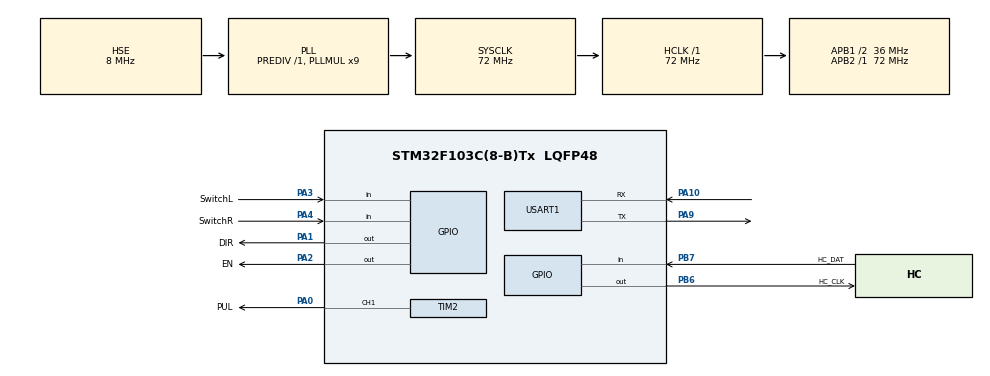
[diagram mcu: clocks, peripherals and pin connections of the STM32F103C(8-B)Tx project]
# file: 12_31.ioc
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Mcu.Family=STM32F1
Mcu.Name=STM32F103C(8-B)Tx
Mcu.Package=LQFP48
NVIC.PriorityGroup=NVIC_PRIORITYGROUP_4
NVIC.TIM2_IRQn=true\:0\:0\:false\:false\:true\:true\:true
NVIC.USART1_IRQn=true\:0\:0\:false\:false\:true\:true\:true
PA0-WKUP.GPIO_Label=PUL
PA0-WKUP.GPIO_ModeDefaultPP=GPIO_MODE_AF_PP
PA0-WKUP.GPIO_Speed=GPIO_SPEED_FREQ_MEDIUM
PA0-WKUP.Signal=S_TIM2_CH1_ETR
PA1.GPIO_Label=DIR
PA1.GPIO_ModeDefaultOutputPP=GPIO_MODE_OUTPUT_PP
PA1.Signal=GPIO_Output
PA10.Mode=Asynchronous
PA10.Signal=USART1_RX
PA2.GPIO_Label=EN
PA2.GPIO_ModeDefaultOutputPP=GPIO_MODE_OUTPUT_PP
PA2.Signal=GPIO_Output
PA3.GPIO_Label=SwitchL
PA3.GPIO_PuPd=GPIO_PULLUP
PA3.Signal=GPIO_Input
PA4.GPIO_Label=SwitchR
PA4.GPIO_PuPd=GPIO_PULLUP
PA4.Signal=GPIO_Input
PA9.Mode=Asynchronous
PA9.Signal=USART1_TX
PB6.GPIO_Label=HC_CLK
PB6.Signal=GPIO_Output
PB7.GPIO_Label=HC_DAT
PB7.Signal=GPIO_Input
PD0-OSC_IN.Mode=HSE-External-Oscillator
PD0-OSC_IN.Signal=RCC_OSC_IN
PD1-OSC_OUT.Mode=HSE-External-Oscillator
PD1-OSC_OUT.Signal=RCC_OSC_OUT
ProjectManager.HeapSize=0x200
ProjectManager.StackSize=0x400
ProjectManager.TargetToolchain=MDK-ARM V5
RCC.AHBFreq_Value=72000000
RCC.APB1CLKDivider=RCC_HCLK_DIV2
RCC.APB1Freq_Value=36000000
RCC.APB1TimFreq_Value=72000000
RCC.APB2Freq_Value=72000000
RCC.APB2TimFreq_Value=72000000
RCC.HCLKFreq_Value=72000000
RCC.PLLMUL=RCC_PLL_MUL9
RCC.PLLSourceVirtual=RCC_PLLSOURCE_HSE
RCC.SYSCLKFreq_VALUE=72000000
RCC.SYSCLKSource=RCC_SYSCLKSOURCE_PLLCLK
RCC.USBFreq_Value=72000000
SH.S_TIM2_CH1_ETR.0=TIM2_CH1,PWM Generation1 CH1
TIM2.AutoReloadPreload=TIM_AUTORELOAD_PRELOAD_ENABLE
TIM2.Channel-PWM\ Generation1\ CH1=TIM_CHANNEL_1
TIM2.Period=1000
TIM2.Prescaler=71
TIM2.Pulse-PWM\ Generation1\ CH1=500
USART1.VirtualMode=VM_ASYNC
VP_SYS_VS_ND.Mode=No_Debug
VP_TIM2_VS_ClockSourceINT.Mode=Internal
board=custom

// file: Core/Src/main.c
/* USER CODE BEGIN Header */
/**
  ******************************************************************************
  * @file           : main.c
  * @brief          : Main program body
  ******************************************************************************
  * @attention
  *
  * <h2><center>&copy; Copyright (c) 2019 STMicroelectronics.
  * All rights reserved.</center></h2>
  *
  * This software component is licensed by ST under BSD 3-Clause license,
  * the "License"; You may not use this file except in compliance with the
  * License. You may obtain a copy of the License at:
  *                        opensource.org/licenses/BSD-3-Clause
  *
  ******************************************************************************
  */
/* USER CODE END Header */

#include "main.h"
#include "tim.h"
#include "usart.h"
#include "gpio.h"

/* USER CODE BEGIN Includes */
#include <stdio.h>
/* USER CODE END Includes */

/* USER CODE BEGIN PTD */
uint8_t usartBuf = 0;
State ComSate = Stop,NowSate = Stop,LastSate = Stop;
Speed ComSpeed = LOW ;
uint8_t StartOnce = 1;//第一次启动标志
uint32_t count = 0;
unsigned long Pressure = 0;

uint8_t maopiOnce = 1;//第一次启动标志
double maopi = 0;
/* USER CODE END PTD */

void SystemClock_Config(void);

/* USER CODE BEGIN 0 */
void StepStop(void)
{
		HAL_GPIO_WritePin(EN_GPIO_Port, EN_Pin, GPIO_PIN_SET);//失能
		HAL_TIM_PWM_Stop(&htim2,TIM_CHANNEL_1);//停止输出脉冲
		StartOnce = 1;//电机停止后置为第一次启动
		count = 0;
}

void StepStart(uint16_t speed,uint8_t DIR)
{
	 if( StartOnce == 1)
	 {
		__HAL_TIM_SET_AUTORELOAD(&htim2,speed);//设置频率
		__HAL_TIM_SET_COMPARE(&htim2,TIM_CHANNEL_1,speed/2);
		HAL_GPIO_WritePin(DIR_GPIO_Port, DIR_Pin, !DIR);//设置方向
		HAL_TIM_PWM_Start(&htim2,TIM_CHANNEL_1);//开启脉冲+中断
		HAL_GPIO_WritePin(EN_GPIO_Port, EN_Pin, GPIO_PIN_RESET);//使能
		 StartOnce = 0;
	 }
}

double map(long x, long in_min, long in_max, double out_min, double out_max)
{
	return (x - in_min) * (out_max - out_min) / (in_max - in_min) + out_min;
}

void DateSend(uint32_t distence,unsigned long pressure)
{
			long ADC = pressure - 0x7FFFFF;
			double KG = map(ADC,-3607101,3607101,-50.0f,50.0f)/1.2;
			static int times = 0;
			if(maopiOnce == 1)
			{
				if(times < 5)
				{
					times++;
					return;
				}
				else if(times < 15)
				{
					times++;
					maopi += KG;
					return;
				}
				else
				{
					maopi = maopi/10;
					maopiOnce = 0;
				}
			}

		static uint32_t NowTime = 0,LastTime = 0;
		NowTime = HAL_GetTick();
		if(NowTime - LastTime <= 150)
		{
			printf("%.2f*%.2f",distence*0.003125,KG-maopi);
			//printf("%f-%f",0.01,0.01);
			LastTime = NowTime;
		}
		else
		{
			LastTime = NowTime;
		}

}
void HC711UpDate()
{

    HAL_GPIO_WritePin(HC_CLK_GPIO_Port, HC_CLK_Pin, GPIO_PIN_RESET);//使能
		if(HAL_GPIO_ReadPin(HC_DAT_GPIO_Port,HC_DAT_Pin))//AD转换未结束则等待，否则开始读取
			return;
		HAL_TIM_PWM_Stop(&htim2,TIM_CHANNEL_1);//停止输出脉冲
		unsigned char i;
		unsigned long Count;
		Count = 0;
    for (i = 0; i < 24; i++)

    {
				HAL_GPIO_WritePin(HC_CLK_GPIO_Port, HC_CLK_Pin, GPIO_PIN_SET);//PD_SCL 置高（发送脉冲）
        Count=Count<<1; //下降沿来时变量Count左移一位，右侧补零
        HAL_GPIO_WritePin(HC_CLK_GPIO_Port, HC_CLK_Pin, GPIO_PIN_RESET); //PD_SCL 置低
        if(HAL_GPIO_ReadPin(HC_DAT_GPIO_Port,HC_DAT_Pin)) Count++;//如果是读数据线高电平就置位
    }

    HAL_GPIO_WritePin(HC_CLK_GPIO_Port, HC_CLK_Pin, GPIO_PIN_SET);//PD_SCL 置高（发送脉冲）
    Count=Count^0x800000;//第25个脉冲下降沿来时，转换数据
    HAL_GPIO_WritePin(HC_CLK_GPIO_Port, HC_CLK_Pin, GPIO_PIN_RESET); //PD_SCL 置低
		DateSend(count,Count);
		HAL_TIM_PWM_Start(&htim2,TIM_CHANNEL_1);//开启脉冲+中断
}
/* USER CODE END 0 */

int main(void)
{

  /* MCU Configuration--------------------------------------------------------*/

  /* Reset of all peripherals, Initializes the Flash interface and the Systick. */
  HAL_Init();

  /* Configure the system clock */
  SystemClock_Config();

  /* Initialize all configured peripherals */
  MX_GPIO_Init();
  MX_TIM2_Init();
  MX_USART1_UART_Init();
  /* USER CODE BEGIN 2 */
	HAL_TIM_Base_Start_IT(&htim2);
	HAL_UART_Receive_IT(&huart1,&usartBuf,1);

  /* USER CODE END 2 */

  /* Infinite loop */
  while (1)
  {

    /* USER CODE BEGIN 3 */

			switch(NowSate)
			{
				case Stop:
				if(ComSate != Stop)
					NowSate = ComSate;
				else
					StepStop();
					break;

				//慢速前进
				case SlowForward:
				if(ComSate == Stop || HAL_GPIO_ReadPin(SwitchR_GPIO_Port,SwitchR_Pin) == 0 )//串口命令停止或到右限位，电机停止
				{
					NowSate = Stop;
					ComSate = Stop;
				}
				else
				{
					if(ComSpeed == LOW)
					StepStart(37500,1);
					else if(ComSpeed == MID)
					StepStart(18750,1);
					else if(ComSpeed == FAS)
					StepStart(9375,1);
					HC711UpDate();

				}
					break;

				//快速前进
				case FastForward:
				if(ComSate == Stop || HAL_GPIO_ReadPin(SwitchR_GPIO_Port,SwitchR_Pin) == 0)
				{
					NowSate = Stop;
					ComSate = Stop;
				}
				else if(ComSpeed == LOW)
					StepStart(1000,1);
				else if(ComSpeed == MID)
					StepStart(500,1);
				else if(ComSpeed == FAS)
					StepStart(200,1);
					break;

				//慢速后退
				case SlowBehind:
				if(ComSate == Stop || HAL_GPIO_ReadPin(SwitchL_GPIO_Port,SwitchL_Pin) == 0  )
				{
					NowSate = Stop;
					ComSate = Stop;
				}
				else
				{
				if(ComSpeed == LOW)
					StepStart(37500,0);
				else if(ComSpeed == MID)
					StepStart(18750,0);
				else if(ComSpeed == FAS)
					StepStart(9375,0);
					HC711UpDate();
				}
					break;

				//快速后退
				case FastBehind:
				if(ComSate == Stop || HAL_GPIO_ReadPin(SwitchL_GPIO_Port,SwitchL_Pin) == 0 )
				{
					NowSate = Stop;
					ComSate = Stop;
				}
				else if(ComSpeed == LOW)
					StepStart(1000,0);
				else if(ComSpeed == MID)
					StepStart(500,0);
				else if(ComSpeed == FAS)
					StepStart(200,0);
					break;

			}

  }

  /* USER CODE END 3 */
}

void SystemClock_Config(void)
{
  RCC_OscInitTypeDef RCC_OscInitStruct = {0};
  RCC_ClkInitTypeDef RCC_ClkInitStruct = {0};

  /** Initializes the CPU, AHB and APB busses clocks
  */
  RCC_OscInitStruct.OscillatorType = RCC_OSCILLATORTYPE_HSE;
  RCC_OscInitStruct.HSEState = RCC_HSE_ON;
  RCC_OscInitStruct.HSEPredivValue = RCC_HSE_PREDIV_DIV1;
  RCC_OscInitStruct.HSIState = RCC_HSI_ON;
  RCC_OscInitStruct.PLL.PLLState = RCC_PLL_ON;
  RCC_OscInitStruct.PLL.PLLSource = RCC_PLLSOURCE_HSE;
  RCC_OscInitStruct.PLL.PLLMUL = RCC_PLL_MUL9;
  if (HAL_RCC_OscConfig(&RCC_OscInitStruct) != HAL_OK)
  {
    Error_Handler();
  }
  /** Initializes the CPU, AHB and APB busses clocks
  */
  RCC_ClkInitStruct.ClockType = RCC_CLOCKTYPE_HCLK|RCC_CLOCKTYPE_SYSCLK
                              |RCC_CLOCKTYPE_PCLK1|RCC_CLOCKTYPE_PCLK2;
  RCC_ClkInitStruct.SYSCLKSource = RCC_SYSCLKSOURCE_PLLCLK;
  RCC_ClkInitStruct.AHBCLKDivider = RCC_SYSCLK_DIV1;
  RCC_ClkInitStruct.APB1CLKDivider = RCC_HCLK_DIV2;
  RCC_ClkInitStruct.APB2CLKDivider = RCC_HCLK_DIV1;

  if (HAL_RCC_ClockConfig(&RCC_ClkInitStruct, FLASH_LATENCY_2) != HAL_OK)
  {
    Error_Handler();
  }
}

/* USER CODE BEGIN 4 */
void HAL_UART_RxCpltCallback(UART_HandleTypeDef *huart)
{
	switch(usartBuf)
	{
		case 0xFF:
			ComSate = Stop;
			break;
		case 0x01:
			ComSate = SlowForward;
			ComSpeed = LOW;
			break;
		case 0x02:
			ComSate = SlowForward;
			ComSpeed = MID;
			break;
		case 0x03:
			ComSate = SlowForward;
			ComSpeed = FAS;
			break;
		case 0x11:
			ComSate = SlowBehind;
			ComSpeed = LOW;
			break;
		case 0x12:
			ComSate = SlowBehind;
			ComSpeed = MID;
			break;
		case 0x13:
			ComSate = SlowBehind;
			ComSpeed = FAS;
			break;
		case 0x21:
			ComSate = FastForward;
			ComSpeed = LOW;
			break;
		case 0x22:
			ComSate = FastForward;
			ComSpeed = MID;
			break;
		case 0x23:
			ComSate = FastForward;
			ComSpeed = FAS;
			break;
		case 0x31:
			ComSate = FastBehind;
			ComSpeed = LOW;
			break;
		case 0x32:
			ComSate = FastBehind;
			ComSpeed = MID;
			break;
		case 0x33:
			ComSate = FastBehind;
			ComSpeed = FAS;
			break;
	}
		HAL_UART_Receive_IT(&huart1,&usartBuf,1);
}

void HAL_TIM_PeriodElapsedCallback(TIM_HandleTypeDef *htim)
{
	if( htim->Instance == TIM2)
		count++;
}

int fputc(int ch, FILE *f)
{
  HAL_UART_Transmit(&huart1, (uint8_t *)&ch, 1, 0xffff);
  return ch;
}
/* USER CODE END 4 */

void Error_Handler(void)
{
}

/************************ (C) COPYRIGHT STMicroelectronics *****END OF FILE****/
